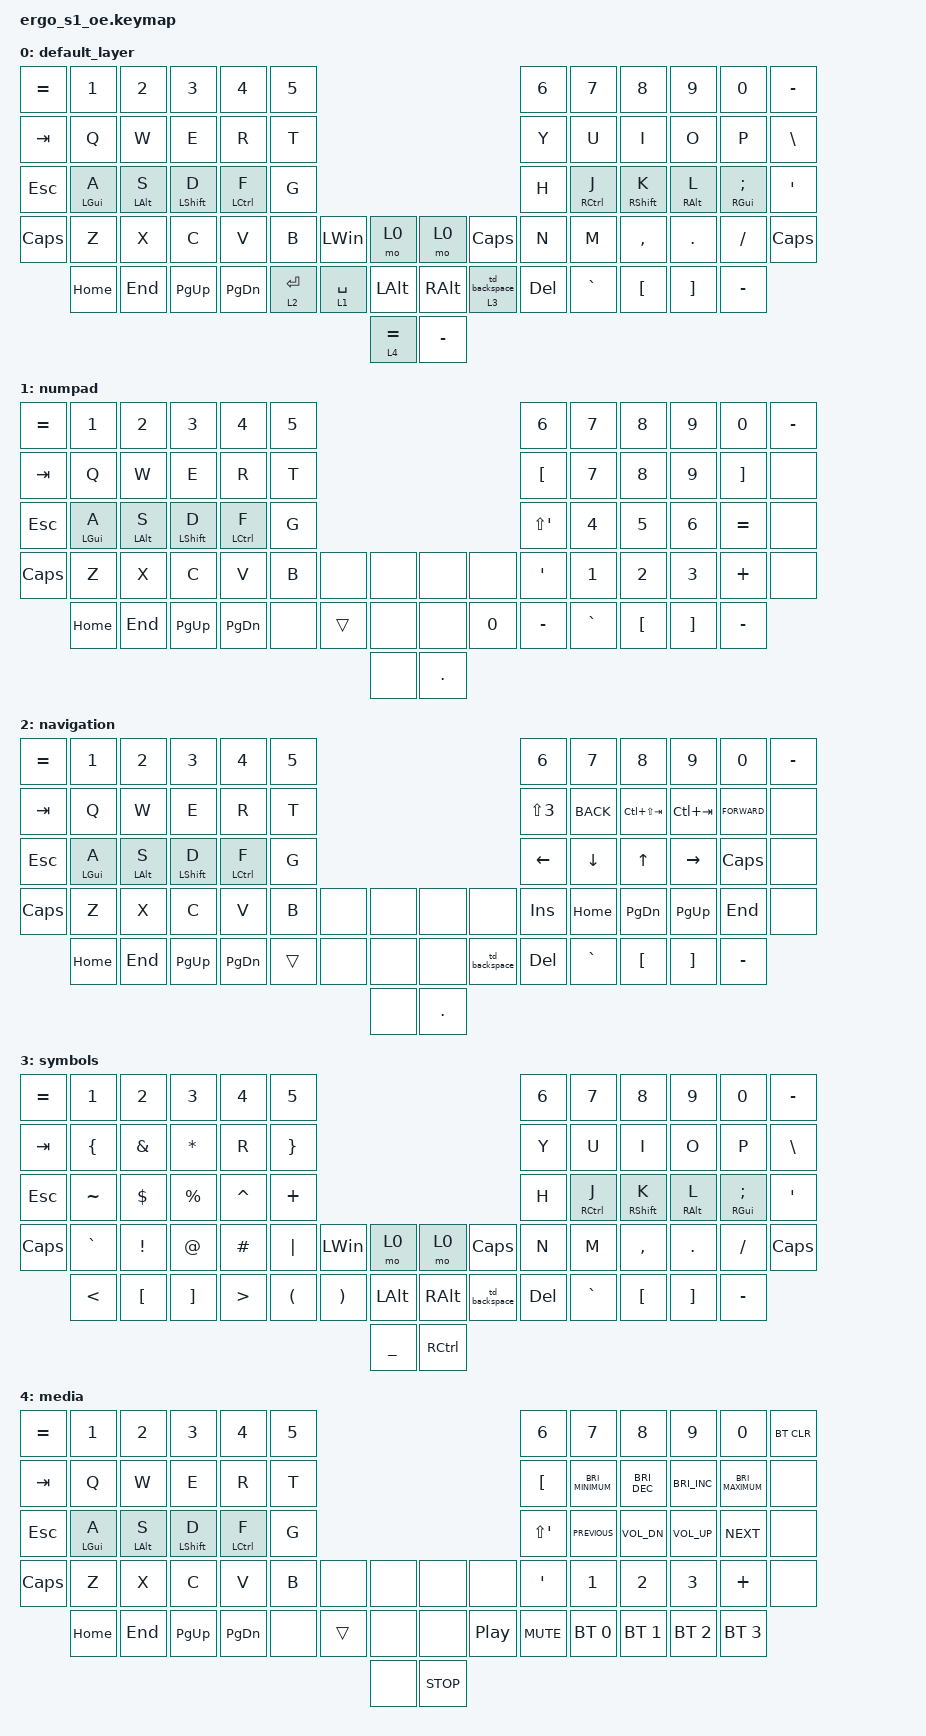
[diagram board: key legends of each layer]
/*
 * Copyright (c) 2021 The ZMK Contributors
 *
 * SPDX-License-Identifier: MIT
 */

#include <behaviors.dtsi>
#include <dt-bindings/zmk/bt.h>
#include <dt-bindings/zmk/keys.h>

#define DEFAULT 0
#define FN  1

/ {
    behaviors {
        td_backspace: td_backspace {
            compatible = "zmk,behavior-tap-dance";
            label = "TD_BACKSPACE";
            #binding-cells = <0>;
            bindings = <&kp BACKSPACE>, <&kp LC(BACKSPACE)>;
        };

        mt_layer: mt_layer {
            compatible = "zmk,behavior-hold-tap";
            label = "MT_LAYER";
            bindings = <&mo>, <&kp>;

            #binding-cells = <2>;
            tapping-term-ms = <200>;
            flavor = "tap-preferred";
        };

        mt_tapdance: mt_tapdance {
            compatible = "zmk,behavior-hold-tap";
            label = "MT_TAPDANCE";
            bindings = <&mo>, <&td_backspace>;

            #binding-cells = <2>;
            tapping-term-ms = <200>;
            flavor = "tap-preferred";
        };

        mt_slow: mt_slow {
            compatible = "zmk,behavior-hold-tap";
            label = "MT_SLOW";
            bindings = <&kp>, <&kp>;

            #binding-cells = <2>;
            flavor = "tap-preferred";
            tapping-term-ms = <300>;
        };

        mt_fast: mt_fast {
            compatible = "zmk,behavior-hold-tap";
            label = "MT_FAST";
            bindings = <&kp>, <&kp>;

            #binding-cells = <2>;
            flavor = "tap-preferred";
            tapping-term-ms = <200>;
        };
    };

    keymap {
        compatible = "zmk,keymap";

        default_layer {
            // ---------------------------------------------------------------------------------------------------------------------------------
            // | ESC  |  1   |  2   |  3   |  4   |  5   |                                                   |  6   |  7   |  8   |  9   |  0   | BSPC |
            // | WIN  |  Q   |  W   |  E   |  R   |  T   |                                                   |  Y   |  U   |  I   |  O   |  P   | EQL  |
            // | TAB  |  A   |  S   |  D   |  F   |  G   |                                                   |  H   |  J   |  K   |  L   | SCLN | QUOT |
            // | LCTL |  Z   |  X   |  C   |  V   |  B   |      | CTL  | ALT  |         | CAPS | CTL  |      |  N   |  M   | COMM | DOT  | SLSH | MINS |
            //        | GRV  | BSLS | LEFT | RGHT |      | SHFT |  FN  | HOME |         | PGUP | ENT  | SPC  |      |  UP  |  DN  | LBKT | RBKT |
            //                                                         | END  |         | PGDN |

            bindings = <
&kp EQUAL   &kp N1               &kp N2               &kp N3                 &kp N4            &kp N5                                                                                                     &kp N6  &kp N7            &kp N8            &kp N9                &kp N0                        &kp MINUS
&kp TAB     &kp Q                &kp W                &kp E                  &kp R             &kp T                                                                                                      &kp Y   &kp U             &kp I             &kp O                 &kp P                         &kp BACKSLASH
&kp ESCAPE  &mt_slow LEFT_GUI A  &mt_slow LEFT_ALT S  &mt_fast LEFT_SHIFT D  &mt_fast LCTRL F  &kp G                                                                                                      &kp H   &mt_fast RCTRL J  &mt_fast RSHFT K  &mt_slow RIGHT_ALT L  &mt_slow RIGHT_GUI SEMICOLON  &kp SQT
&kp CAPS    &kp Z                &kp X                &kp C                  &kp V             &kp B                    &kp LEFT_WIN       &mo 0                &mo 0          &kp CLCK                   &kp N   &kp M             &kp COMMA         &kp PERIOD            &kp SLASH                     &kp CAPS
            &kp HOME             &kp END              &kp PG_UP              &kp PAGE_DOWN             &mt_layer 2 RET  &mt_layer 1 SPACE  &kp LALT             &kp RIGHT_ALT  &mt_tapdance 3 0  &kp DEL          &kp GRAVE         &kp LEFT_BRACKET  &kp RBKT              &kp MINUS
                                                                                                                                           &mt_layer 4 EQUAL    &kp MINUS
            >;
        };

        numpad {
            bindings = <
&kp EQUAL   &kp N1               &kp N2               &kp N3                 &kp N4            &kp N5                                                         &kp N6            &kp N7     &kp N8            &kp N9    &kp N0             &kp MINUS
&kp TAB     &kp Q                &kp W                &kp E                  &kp R             &kp T                                                          &kp LEFT_BRACKET  &kp N7     &kp N8            &kp N9    &kp RIGHT_BRACKET  &none
&kp ESCAPE  &mt_slow LEFT_GUI A  &mt_slow LEFT_ALT S  &mt_fast LEFT_SHIFT D  &mt_fast LCTRL F  &kp G                                                          &kp LS(SQT)       &kp N4     &kp N5            &kp N6    &kp EQUAL          &none
&kp CAPS    &kp Z                &kp X                &kp C                  &kp V             &kp B          &none   &none    &none       &none              &kp SQT           &kp N1     &kp N2            &kp N3    &kp PLUS           &none
            &kp HOME             &kp END              &kp PG_UP              &kp PAGE_DOWN             &none  &trans  &none    &none       &kp N0  &kp MINUS                    &kp GRAVE  &kp LEFT_BRACKET  &kp RBKT  &kp MINUS
                                                                                                                      &none    &kp PERIOD
            >;
        };

        navigation {
            bindings = <
&kp EQUAL   &kp N1               &kp N2               &kp N3                 &kp N4            &kp N5                                                                 &kp N6            &kp N7      &kp N8            &kp N9       &kp N0         &kp MINUS
&kp TAB     &kp Q                &kp W                &kp E                  &kp R             &kp T                                                                  &kp LS(NUMBER_3)  &kp K_BACK  &kp LC(LS(TAB))   &kp LC(TAB)  &kp K_FORWARD  &none
&kp ESCAPE  &mt_slow LEFT_GUI A  &mt_slow LEFT_ALT S  &mt_fast LEFT_SHIFT D  &mt_fast LCTRL F  &kp G                                                                  &kp LEFT_ARROW    &kp DOWN    &kp UP_ARROW      &kp RIGHT    &kp CAPSLOCK   &none
&kp CAPS    &kp Z                &kp X                &kp C                  &kp V             &kp B           &none  &none    &none       &none                      &kp INSERT        &kp HOME    &kp PAGE_DOWN     &kp PG_UP    &kp END        &none
            &kp HOME             &kp END              &kp PG_UP              &kp PAGE_DOWN             &trans  &none  &none    &none       &td_backspace  &kp DELETE                    &kp GRAVE   &kp LEFT_BRACKET  &kp RBKT     &kp MINUS
                                                                                                                      &none    &kp PERIOD
            >;
        };

        symbols {
            bindings = <
&kp EQUAL   &kp N1          &kp N2            &kp N3             &kp N4     &kp N5                                                                                                                &kp N6  &kp N7            &kp N8            &kp N9                &kp N0                   &kp MINUS
&kp TAB     &kp LEFT_BRACE  &kp AMPS          &kp ASTRK          &kp R      &kp RIGHT_BRACE                                                                                                       &kp Y   &kp U             &kp I             &kp O                 &kp P                    &kp BACKSLASH
&kp ESCAPE  &kp TILDE       &kp DOLLAR        &kp PERCENT        &kp CARET  &kp PLUS                                                                                                              &kp H   &mt_fast RCTRL J  &mt_fast RSHFT K  &mt_slow RIGHT_ALT L  &mt_slow RGUI SEMICOLON  &kp SQT
&kp CAPS    &kp GRAVE       &kp EXCL          &kp AT             &kp POUND  &kp PIPE                               &kp LEFT_WIN           &mo 0        &mo 0              &kp CLCK                &kp N   &kp M             &kp COMMA         &kp PERIOD            &kp SLASH                &kp CAPS
            &kp LT          &kp LEFT_BRACKET  &kp RIGHT_BRACKET  &kp GT                      &kp LEFT_PARENTHESIS  &kp RIGHT_PARENTHESIS  &kp LALT     &kp RIGHT_ALT      &td_backspace  &kp DEL          &kp GRAVE         &kp LEFT_BRACKET  &kp RBKT              &kp MINUS
                                                                                                                                          &kp UNDER    &kp RIGHT_CONTROL
            >;
        };

        media {
            bindings = <
&kp EQUAL   &kp N1               &kp N2               &kp N3                 &kp N4            &kp N5                                                                    &kp N6            &kp N7                    &kp N8                &kp N9                &kp N0                    &bt BT_CLR
&kp TAB     &kp Q                &kp W                &kp E                  &kp R             &kp T                                                                     &kp LEFT_BRACKET  &kp C_BRIGHTNESS_MINIMUM  &kp C_BRIGHTNESS_DEC  &kp C_BRIGHTNESS_INC  &kp C_BRIGHTNESS_MAXIMUM  &none
&kp ESCAPE  &mt_slow LEFT_GUI A  &mt_slow LEFT_ALT S  &mt_fast LEFT_SHIFT D  &mt_fast LCTRL F  &kp G                                                                     &kp LS(SQT)       &kp C_PREVIOUS            &kp C_VOL_DN          &kp C_VOLUME_UP       &kp C_NEXT                &none
&kp CAPS    &kp Z                &kp X                &kp C                  &kp V             &kp B          &none   &none    &none       &none                         &kp SQT           &kp N1                    &kp N2                &kp N3                &kp PLUS                  &none
            &kp HOME             &kp END              &kp PG_UP              &kp PAGE_DOWN             &none  &trans  &none    &none       &kp C_PLAY_PAUSE  &kp K_MUTE                    &bt BT_SEL 0              &bt BT_SEL 1          &bt BT_SEL 2          &bt BT_SEL 3
                                                                                                                      &none    &kp C_STOP
            >;
        };
    };
};
